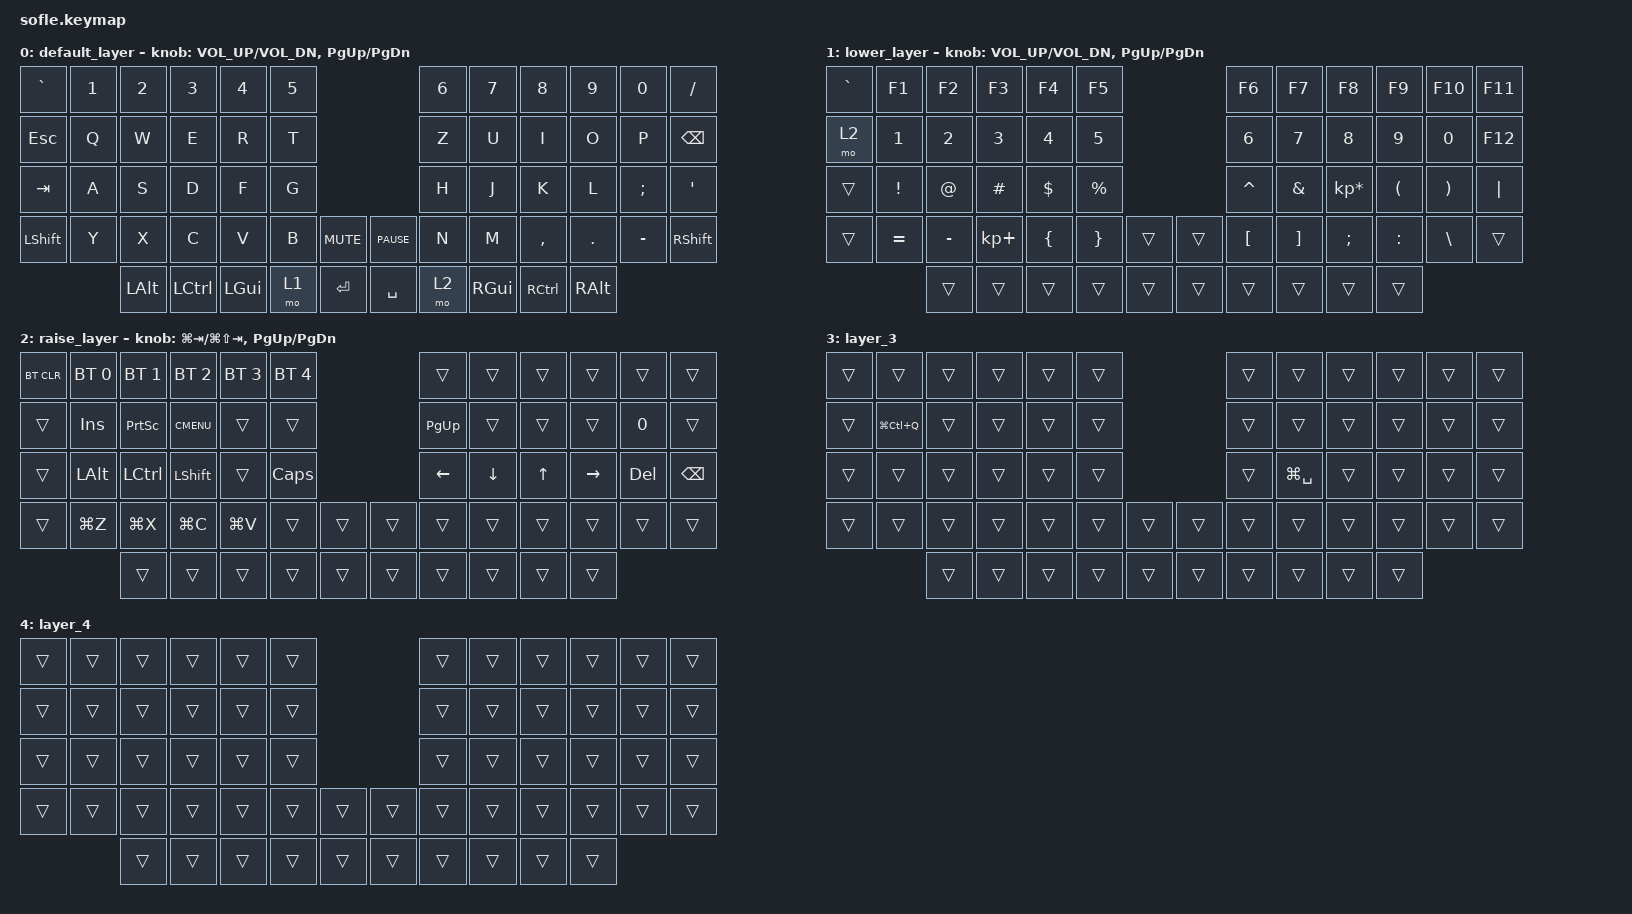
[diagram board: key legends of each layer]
/*
 * Copyright (c) 2020 The ZMK Contributors
 *
 * SPDX-License-Identifier: MIT
 */

#include <behaviors.dtsi>
#include <dt-bindings/zmk/bt.h>
#include <dt-bindings/zmk/keys.h>

/ {
    keymap {
        compatible = "zmk,keymap";

        default_layer {
            // ------------------------------------------------------------------------------------------------------------
            // |  `    |  1  |  2  |  3   |  4   |  5   |                   |  6   |  7    |  8    |  9   |   0   |       |
            // |  ESC  |  Q  |  W  |  E   |  R   |  T   |                   |  Y   |  U    |  I    |  O   |   P   | BKSPC |
            // |  TAB  |  A  |  S  |  D   |  F   |  G   |                   |  H   |  J    |  K    |  L   |   ;   |   '   |
            // | SHIFT |  Z  |  X  |  C   |  V   |  B   |  MUTE  |  |       |  N   |  M    |  ,    |  .   |   /   | SHIFT |
            //               | GUI | ALT  | CTRL | LOWER|  ENTER |  | SPACE | RAISE| CTRL  | ALT   | GUI  |

            bindings = <
&kp GRAVE  &kp N1  &kp N2    &kp N3     &kp N4    &kp N5                             &kp N6  &kp N7    &kp N8     &kp N9    &kp N0     &kp FSLH
&kp ESC    &kp Q   &kp W     &kp E      &kp R     &kp T                              &kp Z   &kp U     &kp I      &kp O     &kp P      &kp BSPC
&kp TAB    &kp A   &kp S     &kp D      &kp F     &kp G                              &kp H   &kp J     &kp K      &kp L     &kp SEMI   &kp SQT
&kp LSHFT  &kp Y   &kp X     &kp C      &kp V     &kp B   &kp C_MUTE    &kp C_PAUSE  &kp N   &kp M     &kp COMMA  &kp DOT   &kp MINUS  &kp RSHFT
                   &kp LALT  &kp LCTRL  &kp LGUI  &mo 1   &kp RET       &kp SPACE    &mo 2   &kp RGUI  &kp RCTRL  &kp RALT
            >;

            sensor-bindings = <&inc_dec_kp C_VOL_UP C_VOL_DN &inc_dec_kp PG_UP PG_DN>;
        };

        lower_layer {
            // TODO: Some binds are waiting for shifted keycode support.
            // ------------------------------------------------------------------------------------------------------------
            // | `     |  F1 |  F2 |  F3  |  F4  |  F5  |                   |  F6  |  F7   |  F8   |  F9  |  F10  |  F11  |
            // | RAISE |   1 |   2 |   3  |   4  |   5  |                   |   6  |   7   |   8   |   9  |    0  |  F12  |
            // |       |  !  |  @  |  #   |  $   |  %   |                   |  ^   |  &    |  *    |  (   |   )   |   |   |
            // |       |  =  |  -  |  +   |  {   |  }   |        |  |       |  [   |  ]    |  ;    |  :   |   \   |       |
            //               |     |      |      |      |        |  |       |      |       |       |      |

            bindings = <
&kp GRAVE  &kp F1     &kp F2     &kp F3       &kp F4    &kp F5                       &kp F6     &kp F7    &kp F8           &kp F9     &kp F10   &kp F11
&mo 2      &kp N1     &kp N2     &kp N3       &kp N4    &kp N5                       &kp N6     &kp N7    &kp N8           &kp N9     &kp N0    &kp F12
&trans     &kp EXCL   &kp AT     &kp HASH     &kp DLLR  &kp PRCNT                    &kp CARET  &kp AMPS  &kp KP_MULTIPLY  &kp LPAR   &kp RPAR  &kp PIPE
&trans     &kp EQUAL  &kp MINUS  &kp KP_PLUS  &kp LBRC  &kp RBRC   &trans    &trans  &kp LBKT   &kp RBKT  &kp SEMI         &kp COLON  &kp BSLH  &trans
                      &trans     &trans       &trans    &trans     &trans    &trans  &trans     &trans    &trans           &trans
            >;

            sensor-bindings = <&inc_dec_kp C_VOL_UP C_VOL_DN &inc_dec_kp PG_UP PG_DN>;
        };

        raise_layer {
            // ------------------------------------------------------------------------------------------------------------
            // |BTCLR| BT1  | BT2  |  BT3  |  BT4  |  BT5 |                |      |      |       |      |       |       |
            // |     | INS  | PSCR | GUI   |       |      |                | PGUP |      |       |      |       |       |
            // |     | ALT  | CTRL | SHIFT |       | CAPS |                |  <-  |   v  |   ^   |  ->  |  DEL  | BKSPC |
            // |     | UNDO | CUT  | COPY  | PASTE |      |      |  |      |      |      |       |      |       |       |
            //              |      |       |       |      |      |  |      |      |      |       |      |

            bindings = <
&bt BT_CLR  &bt BT_SEL 0  &bt BT_SEL 1  &bt BT_SEL 2  &bt BT_SEL 3  &bt BT_SEL 4                    &trans     &trans    &trans  &trans     &trans   &trans
&trans      &kp INS       &kp PSCRN     &kp K_CMENU   &trans        &trans                          &kp PG_UP  &trans    &trans  &trans     &kp N0   &trans
&trans      &kp LALT      &kp LCTRL     &kp LSHFT     &trans        &kp CLCK                        &kp LEFT   &kp DOWN  &kp UP  &kp RIGHT  &kp DEL  &kp BSPC
&trans      &kp LG(Z)     &kp LG(X)     &kp LG(C)     &kp LG(V)     &trans        &trans    &trans  &trans     &trans    &trans  &trans     &trans   &trans
                          &trans        &trans        &trans        &trans        &trans    &trans  &trans     &trans    &trans  &trans
            >;

            sensor-bindings =
                <&inc_dec_kp LG(TAB) LG(LS(TAB))>,
                <&inc_dec_kp PG_UP PG_DN>;
        };

        layer_3 {
            bindings = <
&trans  &trans         &trans  &trans  &trans  &trans                    &trans  &trans         &trans  &trans  &trans  &trans
&trans  &kp LG(LC(Q))  &trans  &trans  &trans  &trans                    &trans  &trans         &trans  &trans  &trans  &trans
&trans  &trans         &trans  &trans  &trans  &trans                    &trans  &kp LG(SPACE)  &trans  &trans  &trans  &trans
&trans  &trans         &trans  &trans  &trans  &trans  &trans    &trans  &trans  &trans         &trans  &trans  &trans  &trans
                       &trans  &trans  &trans  &trans  &trans    &trans  &trans  &trans         &trans  &trans
            >;
        };

        layer_4 {
            bindings = <
&trans  &trans  &trans  &trans  &trans  &trans                    &trans  &trans  &trans  &trans  &trans  &trans
&trans  &trans  &trans  &trans  &trans  &trans                    &trans  &trans  &trans  &trans  &trans  &trans
&trans  &trans  &trans  &trans  &trans  &trans                    &trans  &trans  &trans  &trans  &trans  &trans
&trans  &trans  &trans  &trans  &trans  &trans  &trans    &trans  &trans  &trans  &trans  &trans  &trans  &trans
                &trans  &trans  &trans  &trans  &trans    &trans  &trans  &trans  &trans  &trans
            >;
        };
    };

    conditional_layers {
        compatible = "zmk,conditional-layers";

        adjustlayer {
            if-layers = <1 2>;
            then-layer = <3>;
        };
    };
};
